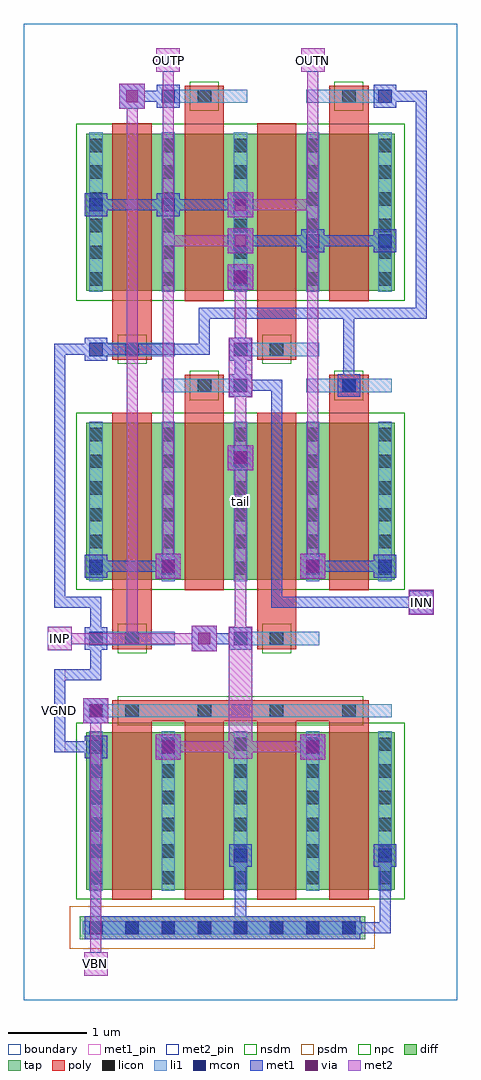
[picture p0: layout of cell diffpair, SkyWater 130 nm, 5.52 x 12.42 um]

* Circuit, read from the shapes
.subckt diffpair INN INP OUTN OUTP VBN VGND tail
XM1 tail VBN VGND VGND sky130_fd_pr__nfet_01v8 w=2 l=0.5 m=4
XM2 OUTP VGND OUTP VGND sky130_fd_pr__nfet_01v8 w=2 l=0.5 m=2
XM3 OUTN VGND OUTN VGND sky130_fd_pr__nfet_01v8 w=2 l=0.5 m=2
XM4 tail INN OUTP VGND sky130_fd_pr__nfet_01v8 w=2 l=0.5 m=2
XM5 tail INP OUTN VGND sky130_fd_pr__nfet_01v8 w=2 l=0.5 m=2
.ends

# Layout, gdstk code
import gdstk
lib = gdstk.Library(unit=1e-6, precision=1e-09)
def R(c, l, rs):  # rectangles x0, y0, x1, y1
    for r in rs: c.add(gdstk.rectangle(r[:2], r[2:], *l))
def A(c, l, x, y, w, h, nx, ny, dx, dy):  # array of equal rectangles
    R(c, l, [(x+i*dx, y+j*dy, x+i*dx+w, y+j*dy+h) for i in range(nx) for j in range(ny)])
diff = (65, 20)
tap = (65, 44)
poly = (66, 20)
licon = (66, 44)
li1 = (67, 20)
mcon = (67, 44)
met1_pin = (68, 16)
met1 = (68, 20)
via = (68, 44)
met2_pin = (69, 16)
met2 = (69, 20)
nsdm = (93, 44)
psdm = (94, 20)
npc = (95, 20)
boundary = (235, 4)

diffpair = lib.new_cell('diffpair')
R(diffpair, diff, [(0.795,1.405,4.725,3.405), (0.795,5.345,4.725,7.345), (0.795,9.025,4.725,11.025)])
R(diffpair, tap, [(0.715,0.775,4.345,1.065)])
A(diffpair, poly, 1.13, 1.275, 0.5, 2.405, 4, 1, 0.92, 0)
R(diffpair, poly, [(1.13,3.545,4.39,3.815), (1.13,4.465,1.63,4.735), (2.97,4.465,3.47,4.735), (1.13,4.6,1.63,7.475), (2.97,4.6,3.47,7.475), (2.05,5.215,2.55,7.82), (3.89,5.215,4.39,7.82), (2.05,7.685,2.55,7.955), (3.89,7.685,4.39,7.955), (1.13,8.145,1.63,8.415), (2.97,8.145,3.47,8.415), (1.13,8.28,1.63,11.155), (2.97,8.28,3.47,11.155), (2.05,8.895,2.55,11.5), (3.89,8.895,4.39,11.5), (2.05,11.365,2.55,11.635), (3.89,11.365,4.39,11.635)])
A(diffpair, licon, 0.835, 0.835, 0.17, 0.17, 8, 1, 0.46, 0)
A(diffpair, licon, 0.835, 1.47, 0.17, 0.17, 5, 6, 0.92, 0.34)
A(diffpair, licon, 1.295, 3.595, 0.17, 0.17, 4, 1, 0.92, 0)
A(diffpair, licon, 0.835, 5.41, 0.17, 0.17, 5, 6, 0.92, 0.34)
A(diffpair, licon, 0.835, 9.09, 0.17, 0.17, 5, 6, 0.92, 0.34)
R(diffpair, licon, [(1.295,4.515,1.465,4.685), (3.135,4.515,3.305,4.685), (2.215,7.735,2.385,7.905), (4.055,7.735,4.225,7.905), (1.295,8.195,1.465,8.365), (3.135,8.195,3.305,8.365), (2.215,11.415,2.385,11.585), (4.055,11.415,4.225,11.585)])
A(diffpair, li1, 0.835, 1.39, 0.17, 2.03, 5, 2, 0.92, 3.94)
A(diffpair, li1, 0.835, 9.01, 0.17, 2.03, 5, 1, 0.92, 0)
R(diffpair, li1, [(0.755,0.835,4.305,1.005), (0.835,3.595,4.685,3.765), (0.835,4.515,1.925,4.685), (2.675,4.515,3.765,4.685), (1.755,7.735,2.845,7.905), (3.595,7.735,4.685,7.905), (0.835,8.195,1.925,8.365), (2.675,8.195,3.765,8.365), (1.755,11.415,2.845,11.585), (3.595,11.415,4.685,11.585)])
A(diffpair, mcon, 0.835, 0.835, 0.17, 0.17, 8, 1, 0.46, 0)
A(diffpair, mcon, 0.835, 3.595, 0.17, 0.17, 1, 3, 0, 0.92)
R(diffpair, mcon, [(2.675,1.755,2.845,1.925), (4.515,1.755,4.685,1.925), (0.835,3.135,1.005,3.305), (1.755,3.135,1.925,3.305), (3.595,3.135,3.765,3.305), (2.675,4.515,2.845,4.685), (1.755,5.435,1.925,5.605), (3.595,5.435,3.765,5.605), (4.515,5.435,4.685,5.605), (2.675,6.815,2.845,6.985), (2.675,7.735,2.845,7.905), (4.055,7.735,4.225,7.905), (0.835,8.195,1.005,8.365), (2.675,8.195,2.845,8.365), (2.675,9.115,2.845,9.285), (3.595,9.575,3.765,9.745), (4.515,9.575,4.685,9.745), (0.835,10.035,1.005,10.205), (1.755,10.035,1.925,10.205), (1.755,11.415,1.925,11.585), (4.515,11.415,4.685,11.585)])
R(diffpair, met1_pin, [(0.39,3.15,0.53,4.21)])
A(diffpair, met1, 0.39, 3.15, 0.6, 0.14, 1, 3, 0, 0.92)
A(diffpair, met1, 0.775, 3.535, 0.29, 0.29, 1, 3, 0, 0.92)
A(diffpair, met1, 2.6, 9.04, 0.32, 0.32, 1, 3, 0, 0.46)
R(diffpair, met1, [(0.775,0.775,4.285,1.065), (0.85,0.85,0.99,0.99), (0.85,0.85,0.99,3.29), (0.85,0.85,2.83,0.99), (2.69,0.85,2.83,1.91), (2.69,0.85,4.67,0.99), (4.53,0.85,4.67,1.91), (2.615,1.695,2.905,1.985), (4.455,1.695,4.745,1.985), (1.68,3.06,2,3.38), (3.52,3.06,3.84,3.38), (0.775,3.075,1.065,3.365), (1.695,3.075,1.985,3.365), (3.535,3.075,3.825,3.365), (0.39,3.15,0.53,4.21), (0.76,3.52,1.08,3.84), (0.85,4.07,0.99,4.67), (2.14,4.44,2.46,4.76), (2.615,4.455,2.905,4.745), (0.85,4.53,0.99,5.13), (2.23,4.53,2.83,4.67), (4.9,4.9,5.22,5.22), (0.39,4.99,0.53,8.35), (3.15,4.99,5.13,5.13), (3.15,4.99,3.29,7.89), (1.68,5.36,2,5.68), (3.52,5.36,3.84,5.68), (1.695,5.375,1.985,5.665), (3.535,5.375,3.825,5.665), (4.455,5.375,4.745,5.665), (0.85,5.45,1.91,5.59), (3.61,5.45,4.67,5.59), (2.6,6.74,2.92,7.06), (2.615,6.755,2.905,7.045), (2.615,7.675,2.905,7.965), (3.995,7.675,4.285,7.965), (2.69,7.75,2.83,8.35), (2.69,7.75,3.29,7.89), (4.07,7.75,4.21,8.81), (0.775,8.135,1.065,8.425), (2.615,8.135,2.905,8.425), (0.39,8.21,0.99,8.35), (0.85,8.21,2.37,8.35), (2.23,8.21,2.37,8.81), (2.23,8.67,4.21,8.81), (4.07,8.67,5.13,8.81), (4.99,8.67,5.13,11.57), (2.615,9.055,2.905,9.345), (3.535,9.515,3.825,9.805), (4.455,9.515,4.745,9.805), (2.69,9.59,3.75,9.73), (3.61,9.59,4.67,9.73), (0.775,9.975,1.065,10.265), (1.695,9.975,1.985,10.265), (0.85,10.05,1.91,10.19), (1.77,10.05,2.83,10.19), (1.22,11.34,1.54,11.66), (1.695,11.355,1.985,11.645), (4.455,11.355,4.745,11.645), (1.31,11.43,1.91,11.57), (4.53,11.43,5.13,11.57)])
A(diffpair, via, 2.685, 9.125, 0.15, 0.15, 1, 3, 0, 0.46)
R(diffpair, via, [(1.765,3.145,1.915,3.295), (3.605,3.145,3.755,3.295), (0.845,3.605,0.995,3.755), (2.225,4.525,2.375,4.675), (4.985,4.985,5.135,5.135), (1.765,5.445,1.915,5.595), (3.605,5.445,3.755,5.595), (2.685,6.825,2.835,6.975), (1.305,11.425,1.455,11.575)])
R(diffpair, met2_pin, [(0.77,0.31,1.07,0.61), (0.31,4.45,0.61,4.75), (4.91,4.91,5.21,5.21), (1.69,11.81,1.99,12.11), (3.53,11.81,3.83,12.11)])
A(diffpair, met2, 2.6, 9.04, 0.32, 0.32, 1, 3, 0, 0.46)
R(diffpair, met2, [(0.77,0.31,1.07,0.61), (0.85,0.39,0.99,0.53), (0.85,0.39,0.99,3.75), (1.68,3.06,2,3.38), (3.52,3.06,3.84,3.38), (2.61,3.07,2.91,4.75), (1.77,3.15,2.83,3.29), (2.69,3.15,3.75,3.29), (0.76,3.52,1.08,3.84), (2.14,4.44,2.46,4.76), (0.31,4.45,0.61,4.75), (0.39,4.53,0.53,4.67), (0.39,4.53,2.37,4.67), (1.31,4.53,1.45,11.57), (2.69,4.53,2.83,6.97), (4.9,4.9,5.22,5.22), (4.91,4.91,5.21,5.21), (4.99,4.99,5.13,5.13), (1.68,5.36,2,5.68), (3.52,5.36,3.84,5.68), (1.77,5.45,1.91,12.03), (3.61,5.45,3.75,12.03), (2.6,6.74,2.92,7.06), (2.69,6.83,2.83,7.89), (2.61,7.67,2.91,8.43), (2.69,8.21,2.83,9.27), (1.77,9.59,2.83,9.73), (2.69,10.05,3.75,10.19), (1.22,11.34,1.54,11.66), (1.69,11.81,1.99,12.11), (3.53,11.81,3.83,12.11), (1.77,11.89,1.91,12.03), (3.61,11.89,3.75,12.03)])
R(diffpair, nsdm, [(0.67,1.28,4.85,3.53), (0.67,5.22,4.85,7.47), (0.67,8.9,4.85,11.15)])
R(diffpair, psdm, [(0.59,0.65,4.47,1.19)])
R(diffpair, npc, [(1.195,3.495,4.325,3.865), (1.195,4.415,1.565,4.785), (3.035,4.415,3.405,4.785), (2.115,7.635,2.485,8.005), (3.955,7.635,4.325,8.005), (1.195,8.095,1.565,8.465), (3.035,8.095,3.405,8.465), (2.115,11.315,2.485,11.685), (3.955,11.315,4.325,11.685)])
R(diffpair, boundary, [(0,0,5.52,12.42)])
diffpair.add(gdstk.Label('tail', (2.76,6.345), layer=67, texttype=5))
diffpair.add(gdstk.Label('VGND', (0.46,3.68), layer=68, texttype=5))
diffpair.add(gdstk.Label('INP', (0.46,4.6), layer=69, texttype=5))
diffpair.add(gdstk.Label('INN', (5.06,5.06), layer=69, texttype=5))
diffpair.add(gdstk.Label('VBN', (0.92,0.46), layer=69, texttype=5))
diffpair.add(gdstk.Label('OUTP', (1.84,11.96), layer=69, texttype=5))
diffpair.add(gdstk.Label('OUTN', (3.68,11.96), layer=69, texttype=5))
diffpair.add(gdstk.Label('VGND', (0.46,3.68), layer=68, texttype=16))
diffpair.add(gdstk.Label('INP', (0.46,4.6), layer=69, texttype=16))
diffpair.add(gdstk.Label('INN', (5.06,5.06), layer=69, texttype=16))
diffpair.add(gdstk.Label('VBN', (0.92,0.46), layer=69, texttype=16))
diffpair.add(gdstk.Label('OUTP', (1.84,11.96), layer=69, texttype=16))
diffpair.add(gdstk.Label('OUTN', (3.68,11.96), layer=69, texttype=16))

lib.write_gds('diffpair.gds')
